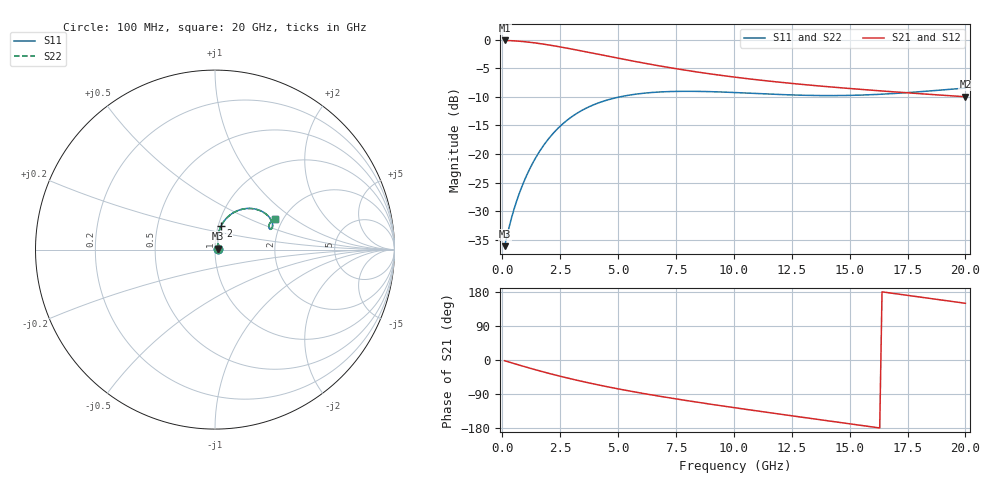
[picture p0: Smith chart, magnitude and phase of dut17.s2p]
! Touchstone file exported from HFSS 2024.1.0
!  File:  C:/UserFiles/LocalFiles/RDL_TSV_Batchsim/temp_RDL_TSV_17_1779398857.aedt
!  Generated:  05:43:25 AM May 22, 2026
!  Design:  RDL_TSV
!  Project:  temp_RDL_TSV_17_1779398857
!  Setup:  Setup1
!  Solution:  Sweep
! Variables:
!  dtsv = 8.76um
!  hbump = 3um
!  htsv = 75.07um
!  ldown = 372.83um
!  lrdl = 478.61um
!  p = 40
!  p1 = 58.65um
!  rhole = 10um
!  subl = 3032.93um
!  t = 450um
!  tdown = 4.2um
!  trdl = 4.96um
!  viad = 10um
!  wdown = 16.06um
!  wrdl = 18um
!  xbump = 18um
# GHz S MA R 50.000000
! Terminal data exported
! Port[1] = TM1_1_T1
! Port[2] = TM1_4_T1
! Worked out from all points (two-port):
!   200 points, 100 MHz to 20 GHz, reference 50 ohm
!   highest |S21| = -0.13 dB at 100 MHz (marker M1); lowest = -10.0 dB at 20 GHz (marker M2)
!   |S21| within 3 dB of the highest: start of sweep to 4.869 GHz
!   lowest |S11| = -36.1 dB at 100 MHz (marker M3), VSWR 1.03, Z = 51.5 + j0.626 ohm
!   |S11| at or under -10 dB: start of sweep to 5.082 GHz
!   |S22| runs from -36.1 to -8.5 dB; largest |S21 - S12| = 5.5e-14
!   S11 on the Smith chart (normalised r, x): 100 MHz: 1.03, +0.01; 2 GHz: 1.03, +0.28; 20 GHz: 1.82, +0.73
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0.1  0.01558 23.0  0.9854 -1.9  0.9854 -1.9  0.01559 23.0
! Gamma 0 0 0 0
! Port Impedance 50 0 50 0
0.3  0.02309 49.3  0.9824 -5.6  0.9824 -5.6  0.0231 49.3
0.5  0.03249 61.9  0.9778 -9.3  0.9778 -9.3  0.0325 61.9
0.7  0.04317 69.3  0.9715 -12.9  0.9715 -12.9  0.04317 69.2
0.9  0.05509 73.7  0.9638 -16.5  0.9638 -16.5  0.05508 73.7
1.1  0.06814 76.3  0.9546 -20.0  0.9546 -20.0  0.06811 76.2
1.4  0.08948 77.7  0.9385 -25.2  0.9385 -25.2  0.08943 77.6
1.7  0.1123 77.2  0.9202 -30.2  0.9202 -30.2  0.1122 77.2
2  0.1359 75.6  0.9004 -35.1  0.9004 -35.1  0.1358 75.6
2.7  0.1902 69.4  0.8506 -45.9  0.8506 -45.9  0.1899 69.4
3.5  0.2444 61.0  0.792 -57.2  0.792 -57.2  0.2441 61.0
4.2  0.282 53.9  0.7422 -66.4  0.7422 -66.4  0.2816 53.8
5.1  0.3168 45.7  0.683 -77.3  0.683 -77.3  0.3163 45.6
5.9  0.3365 39.4  0.6359 -86.3  0.6359 -86.3  0.3359 39.4
6.8  0.3488 33.6  0.5894 -95.7  0.5894 -95.7  0.3482 33.6
8.3  0.3533 26.4  0.526 -110.3  0.526 -110.3  0.3527 26.4
10.1  0.3445 21.5  0.4687 -126.5  0.4687 -126.5  0.3439 21.5
11.7  0.3333 20.1  0.4303 -140.4  0.4303 -140.4  0.3326 20.0
13.4  0.3252 20.8  0.3984 -154.9  0.3984 -154.9  0.3246 20.8
15  0.3256 22.9  0.3741 -168.4  0.3741 -168.4  0.325 22.9
16.7  0.3362 25.3  0.3522 177.3  0.3522 177.3  0.3357 25.3
20  0.3773 27.0  0.3168 149.7  0.3168 149.7  0.377 27.0
